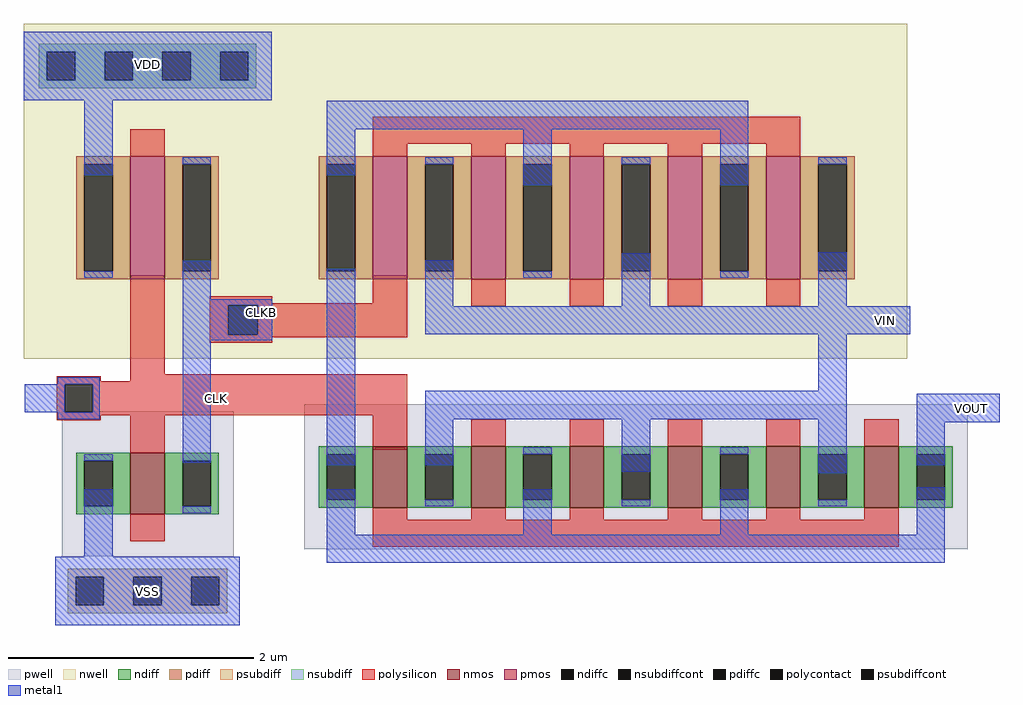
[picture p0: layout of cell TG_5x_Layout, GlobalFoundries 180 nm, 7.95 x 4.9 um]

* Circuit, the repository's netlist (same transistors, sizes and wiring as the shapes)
* NGSPICE file created from TG_5x_Layout.ext - technology: gf180mcuC

.subckt nmos_3p3_FGGST2 a_n52_n50# a_n516_n50# a_428_n50# a_n428_n94# a_n212_n50#
+ a_n372_n50# a_52_n94# a_108_n50# a_268_n50# a_n108_n94# a_n268_n94# a_212_n94# a_372_n94#
+ VSUBS
X0 a_108_n50# a_52_n94# a_n52_n50# VSUBS nfet_03v3 ad=0.13p pd=1.02u as=0.13p ps=1.02u w=0.5u l=0.28u
X1 a_268_n50# a_212_n94# a_108_n50# VSUBS nfet_03v3 ad=0.13p pd=1.02u as=0.13p ps=1.02u w=0.5u l=0.28u
X2 a_n372_n50# a_n428_n94# a_n516_n50# VSUBS nfet_03v3 ad=0.13p pd=1.02u as=0.22p ps=1.88u w=0.5u l=0.28u
X3 a_428_n50# a_372_n94# a_268_n50# VSUBS nfet_03v3 ad=0.22p pd=1.88u as=0.13p ps=1.02u w=0.5u l=0.28u
X4 a_n52_n50# a_n108_n94# a_n212_n50# VSUBS nfet_03v3 ad=0.13p pd=1.02u as=0.13p ps=1.02u w=0.5u l=0.28u
X5 a_n212_n50# a_n268_n94# a_n372_n50# VSUBS nfet_03v3 ad=0.13p pd=1.02u as=0.13p ps=1.02u w=0.5u l=0.28u
.ends

.subckt pmos_3p3_MN2VAR a_n292_n100# a_28_n100# a_n28_n144# a_132_n144# a_188_n100#
+ w_n522_n230# a_n188_n144# a_292_n144# a_348_n100# a_n348_n144# a_n436_n100# a_n132_n100#
X0 a_n132_n100# a_n188_n144# a_n292_n100# w_n522_n230# pfet_03v3 ad=0.26p pd=1.52u as=0.26p ps=1.52u w=1u l=0.28u
X1 a_188_n100# a_132_n144# a_28_n100# w_n522_n230# pfet_03v3 ad=0.26p pd=1.52u as=0.26p ps=1.52u w=1u l=0.28u
X2 a_n292_n100# a_n348_n144# a_n436_n100# w_n522_n230# pfet_03v3 ad=0.26p pd=1.52u as=0.44p ps=2.88u w=1u l=0.28u
X3 a_348_n100# a_292_n144# a_188_n100# w_n522_n230# pfet_03v3 ad=0.44p pd=2.88u as=0.26p ps=1.52u w=1u l=0.28u
X4 a_28_n100# a_n28_n144# a_n132_n100# w_n522_n230# pfet_03v3 ad=0.26p pd=1.52u as=0.26p ps=1.52u w=1u l=0.28u
.ends

.subckt nmos_3p3_GGGST2 a_n28_n94# a_n116_n50# a_28_n50# VSUBS
X0 a_28_n50# a_n28_n94# a_n116_n50# VSUBS nfet_03v3 ad=0.22p pd=1.88u as=0.22p ps=1.88u w=0.5u l=0.28u
.ends

.subckt pmos_3p3_MNVUAR w_n202_n230# a_28_n100# a_n28_n144# a_n116_n100#
X0 a_28_n100# a_n28_n144# a_n116_n100# w_n202_n230# pfet_03v3 ad=0.44p pd=2.88u as=0.44p ps=2.88u w=1u l=0.28u
.ends

.subckt Inverter_Layout IN OUT VSS VDD
Xnmos_3p3_GGGST2_0 IN VSS OUT VSS nmos_3p3_GGGST2
Xpmos_3p3_MNVUAR_0 VDD OUT IN VDD pmos_3p3_MNVUAR
.ends

.subckt TG_5x_Layout VIN VOUT VSS VDD CLK
Xnmos_3p3_FGGST2_0 VIN VOUT VOUT CLK VOUT VIN CLK VOUT VIN CLK CLK CLK CLK VSS nmos_3p3_FGGST2
Xpmos_3p3_MN2VAR_0 VIN VIN Inverter_Layout_0/OUT Inverter_Layout_0/OUT VOUT VDD Inverter_Layout_0/OUT
+ Inverter_Layout_0/OUT VIN Inverter_Layout_0/OUT VOUT VOUT pmos_3p3_MN2VAR
XInverter_Layout_0 CLK Inverter_Layout_0/OUT VSS VDD Inverter_Layout
.ends

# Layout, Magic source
magic
tech gf180mcuC
magscale 1 10
<< nwell >>
rect 297 867 1332 953
<< polysilicon >>
rect 462 757 1158 801
rect 462 740 518 757
rect 196 498 298 509
rect 462 498 518 543
rect 196 494 518 498
rect 196 446 226 494
rect 274 446 518 494
rect 196 442 518 446
rect 196 433 298 442
rect 98 371 518 382
rect 71 315 518 371
rect 462 259 518 315
rect 462 101 1318 145
<< polycontact >>
rect 226 446 274 494
<< metal1 >>
rect -107 828 297 940
rect 387 781 1073 827
rect 387 706 433 781
rect 707 690 753 781
rect 1027 690 1073 781
rect 198 494 298 504
rect 198 446 226 494
rect 274 446 298 494
rect 198 437 298 446
rect 387 234 433 554
rect 547 493 593 568
rect 867 493 913 579
rect 1187 493 1233 581
rect 547 447 1337 493
rect 1187 355 1233 447
rect 547 309 1233 355
rect 547 234 593 309
rect 867 223 913 309
rect 1187 221 1233 309
rect 1347 304 1482 350
rect 1347 234 1393 304
rect 387 121 433 195
rect 707 121 753 195
rect 1027 121 1073 195
rect 1347 121 1393 198
rect -55 -27 245 85
rect 387 75 1393 121
use Inverter_Layout  Inverter_Layout_0 ~/GF180Projects/Tapeout/Magic/Logic_Gates/Inverter
transform 1 0 -45 0 1 97
box -62 -124 342 856
use nmos_3p3_FGGST2  nmos_3p3_FGGST2_0
transform 1 0 890 0 1 215
box -540 -118 540 118
use pmos_3p3_MN2VAR  pmos_3p3_MN2VAR_0
transform 1 0 810 0 1 637
box -522 -230 522 230
<< labels >>
flabel metal1 1436 326 1436 326 0 FreeSans 320 0 0 0 VOUT
port 3 nsew
flabel metal1 1296 470 1296 470 0 FreeSans 320 0 0 0 VIN
port 2 nsew
flabel metal1 95 29 95 29 0 FreeSans 320 0 0 0 VSS
port 4 nsew
flabel polysilicon 207 343 207 343 0 FreeSans 320 0 0 0 CLK
port 6 nsew
flabel metal1 95 887 95 887 0 FreeSans 320 0 0 0 VDD
port 5 nsew
flabel metal1 281 483 281 483 0 FreeSans 480 0 0 0 CLKB
port 7 nsew
<< end >>

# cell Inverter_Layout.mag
magic
tech gf180mcuC
magscale 1 10
<< nwell >>
rect -62 731 342 856
<< psubdiff >>
rect 10 -45 270 -32
rect 10 -91 23 -45
rect 69 -91 117 -45
rect 163 -91 211 -45
rect 257 -91 270 -45
rect 10 -104 270 -91
<< nsubdiff >>
rect -37 810 317 823
rect -37 764 -24 810
rect 22 764 70 810
rect 116 764 164 810
rect 210 764 258 810
rect 304 764 317 810
rect -37 751 317 764
<< psubdiffcont >>
rect 23 -91 69 -45
rect 117 -91 163 -45
rect 211 -91 257 -45
<< nsubdiffcont >>
rect -24 764 22 810
rect 70 764 116 810
rect 164 764 210 810
rect 258 764 304 810
<< polysilicon >>
rect -8 274 64 282
rect 112 274 168 446
rect -8 269 168 274
rect -8 223 5 269
rect 51 223 168 269
rect -8 218 168 223
rect -8 210 64 218
rect 112 173 168 218
<< polycontact >>
rect 5 223 51 269
<< metal1 >>
rect -62 810 342 843
rect -62 764 -24 810
rect 22 764 70 810
rect 116 764 164 810
rect 210 764 258 810
rect 304 764 342 810
rect -62 731 342 764
rect 37 609 83 731
rect 197 396 243 470
rect 197 350 340 396
rect -6 269 62 280
rect -60 223 5 269
rect 51 223 62 269
rect -6 212 62 223
rect 197 141 243 350
rect 37 -12 83 98
rect -10 -45 290 -12
rect -10 -91 23 -45
rect 69 -91 117 -45
rect 163 -91 211 -45
rect 257 -91 290 -45
rect -10 -124 290 -91
use nfet_03v3_NULYT4  nfet_03v3_NULYT4_0
transform 1 0 140 0 1 107
box -140 -118 140 118
use pmos_3p3_MNVUAR  pmos_3p3_MNVUAR_0 ~/GF180Projects/Tapeout/Magic/Logic_Gates/AND_2_Input
transform 1 0 140 0 1 540
box -202 -230 202 230
<< labels >>
flabel psubdiffcont 140 -68 140 -68 0 FreeSans 320 0 0 0 VSS
port 7 nsew
flabel metal1 140 790 140 790 0 FreeSans 320 0 0 0 VDD
port 9 nsew
flabel metal1 -40 246 -40 246 0 FreeSans 320 0 0 0 IN
port 4 nsew
flabel metal1 279 373 279 373 0 FreeSans 320 0 0 0 OUT
port 6 nsew
<< end >>

# cell nmos_3p3_FGGST2: kit device nmos_3p3, w 0.5 l 0.280 m 1 nf 6 diffcov 100 polycov 100 guard 0 glc 0 grc 0 gtc 0 gbc 0 tbcov 100 rlcov 100 topc 0 botc 0 poverlap 0 doverlap 1 lmin 0.28 wmin 0.22 full_metal 0 compatible {nmos_3p3 nmos_6p0 nmos_6p0_nat}

# cell pmos_3p3_MN2VAR: kit device pmos_3p3, w 1 l 0.280 m 1 nf 5 diffcov 100 polycov 100 guard 0 glc 0 grc 0 gtc 0 gbc 0 tbcov 100 rlcov 100 topc 0 botc 0 poverlap 0 doverlap 1 lmin 0.28 wmin 0.22 full_metal 0 compatible {pmos_3p3 pmos_6p0}

# cell nfet_03v3_NULYT4: kit device nfet_03v3, w 0.5 l 0.280 m 1 nf 1 diffcov 100 polycov 100 guard 0 glc 0 grc 0 gtc 0 gbc 0 tbcov 100 rlcov 100 topc 0 botc 0 poverlap 0 doverlap 1 lmin 0.28 wmin 0.22 full_metal 0 compatible {nfet_03v3 nfet_06v0 nfet_06v0_nvt}

# cell pmos_3p3_MNVUAR: kit device pmos_3p3, w 1 l 0.280 m 1 nf 1 diffcov 100 polycov 100 guard 0 glc 0 grc 0 gtc 0 gbc 0 tbcov 100 rlcov 100 topc 0 botc 0 poverlap 0 doverlap 1 lmin 0.28 wmin 0.22 full_metal 0 compatible {pmos_3p3 pmos_6p0}
